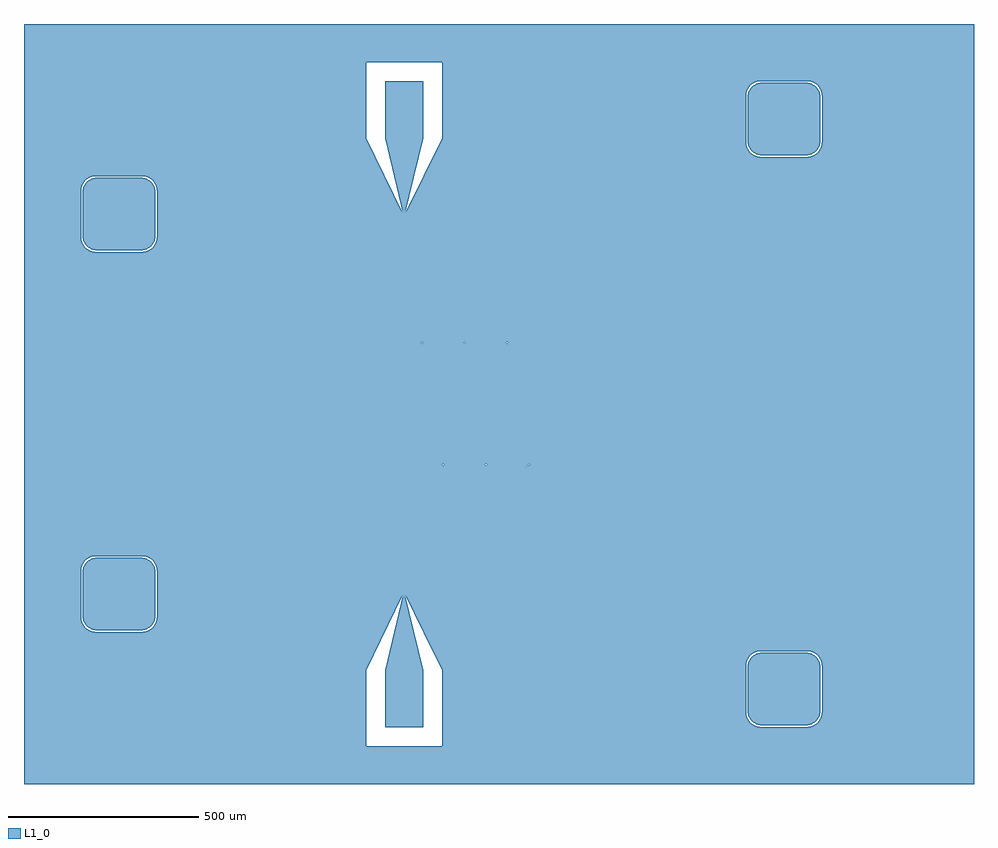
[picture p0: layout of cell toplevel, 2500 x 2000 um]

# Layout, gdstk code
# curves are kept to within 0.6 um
import gdstk
lib = gdstk.Library(unit=1e-6, precision=1e-09)
def P(c, l, *ps):  # polygons
    for p in ps: c.add(gdstk.Polygon(p, *l))
L1_0 = (1, 0)

toplevel = lib.new_cell('toplevel')
P(toplevel, L1_0, [(-1559,-845),(-1566.023,-844.308),(-1572.777,-842.26),(-1581.838,-836.828),(-1588.933,-829),(-1592.26,-822.777),(-1594.308,-816.023),(-1595,-809),(-1594.827,-687.471),(-1592.26,-677.223),(-1586.828,-668.162),(-1581.838,-663.172),(-1572.777,-657.74),(-1566.023,-655.692),(-1559,-655),(-1437.471,-655.173),(-1427.223,-657.74),(-1418.162,-663.172),(-1411.067,-670.999),(-1407.74,-677.223),(-1405.692,-683.977),(-1405,-691),(-1405.173,-812.529),(-1407.74,-822.777),(-1413.172,-831.838),(-1418.162,-836.828),(-1424.03,-840.749),(-1430.55,-843.45),(-1437.471,-844.827)],
  [(-3309,-595),(-3316.023,-594.308),(-3322.777,-592.26),(-3331.838,-586.828),(-3338.933,-579),(-3342.26,-572.777),(-3344.308,-566.023),(-3345,-559),(-3344.827,-437.471),(-3342.26,-427.223),(-3336.828,-418.162),(-3331.838,-413.172),(-3322.777,-407.74),(-3316.023,-405.692),(-3309,-405),(-3187.471,-405.173),(-3177.223,-407.74),(-3168.162,-413.172),(-3161.067,-420.999),(-3157.74,-427.223),(-3155.692,-433.977),(-3155,-441),(-3155.173,-562.529),(-3157.74,-572.777),(-3163.172,-581.838),(-3168.162,-586.828),(-3174.03,-590.749),(-3180.55,-593.45),(-3187.471,-594.827)],
  [(-3309,405),(-3316.023,405.692),(-3322.777,407.74),(-3331.838,413.172),(-3338.933,420.999),(-3342.26,427.223),(-3344.308,433.977),(-3345,441),(-3344.827,562.529),(-3342.26,572.777),(-3336.828,581.838),(-3331.838,586.828),(-3322.777,592.26),(-3316.023,594.308),(-3309,595),(-3187.471,594.827),(-3177.223,592.26),(-3168.162,586.828),(-3163.172,581.838),(-3157.74,572.777),(-3155.692,566.023),(-3155,559),(-3155.173,437.471),(-3157.74,427.223),(-3163.172,418.162),(-3168.162,413.172),(-3174.03,409.251),(-3180.55,406.55),(-3187.471,405.173)],
  [(-1559,655),(-1566.023,655.692),(-1572.777,657.74),(-1581.838,663.172),(-1588.933,670.999),(-1592.26,677.223),(-1594.308,683.977),(-1595,691),(-1594.827,812.529),(-1592.26,822.777),(-1586.828,831.838),(-1581.838,836.828),(-1572.777,842.26),(-1566.023,844.308),(-1559,845),(-1437.471,844.827),(-1427.223,842.26),(-1418.162,836.828),(-1413.172,831.838),(-1407.74,822.777),(-1405.692,816.023),(-1405,809),(-1405.173,687.471),(-1407.74,677.223),(-1413.172,668.162),(-1418.162,663.172),(-1424.03,659.251),(-1430.55,656.55),(-1437.471,655.173)],
  [(-2550,-850),(-2550,-700),(-2501.8,-500),(-2501.8,500),(-2550,700),(-2550,850),(-2450,850),(-2450,700),(-2498.2,500),(-2498.2,-500),(-2450,-700),(-2450,-850)],
  [(-3500,-1000),(-3500,-400),(-3310,-400),(-3321.611,-401.722),(-3328.856,-404.723),(-3335.376,-409.08),(-3340.92,-414.624),(-3345.277,-421.144),(-3348.278,-428.389),(-3349.807,-436.079),(-3350,-560),(-3349.231,-567.804),(-3345.277,-578.856),(-3340.92,-585.376),(-3332.223,-593.259),(-3325.307,-596.955),(-3317.804,-599.231),(-3310,-600),(-3190,-600),(-3182.196,-599.231),(-3174.693,-596.955),(-3167.777,-593.259),(-3159.08,-585.376),(-3154.723,-578.856),(-3151.722,-571.611),(-3150,-560),(-3150,-440),(-3150.769,-432.196),(-3154.723,-421.144),(-3159.08,-414.624),(-3167.777,-406.741),(-3174.693,-403.045),(-3182.196,-400.769),(-3190,-400),(-3500,-400),(-3500,600),(-3310,600),(-3321.611,598.278),(-3328.856,595.277),(-3335.376,590.92),(-3340.92,585.376),(-3345.277,578.856),(-3348.278,571.611),(-3349.807,563.921),(-3350,440),(-3349.231,432.196),(-3345.277,421.144),(-3340.92,414.624),(-3332.223,406.741),(-3325.307,403.045),(-3317.804,400.769),(-3310,400),(-3190,400),(-3182.196,400.769),(-3174.693,403.045),(-3167.777,406.741),(-3159.08,414.624),(-3154.723,421.144),(-3151.722,428.389),(-3150,440),(-3150,560),(-3150.769,567.804),(-3154.723,578.856),(-3159.08,585.376),(-3167.777,593.259),(-3174.693,596.955),(-3182.196,599.231),(-3190,600),(-3500,600),(-3500,900),(-2600,900),(-2600,700),(-2502.8,501.633),(-2502.8,-501.633),(-2600,-700),(-2600,-900),(-2400,-900),(-2400,-700),(-2424.5,-650),(-1560,-650),(-1571.611,-651.722),(-1578.856,-654.723),(-1585.376,-659.08),(-1593.259,-667.777),(-1596.955,-674.693),(-1599.231,-682.196),(-1600,-690),(-1599.807,-813.921),(-1598.278,-821.611),(-1595.277,-828.856),(-1588.284,-838.284),(-1578.856,-845.277),(-1571.611,-848.278),(-1563.921,-849.807),(-1440,-850),(-1432.196,-849.231),(-1424.693,-846.955),(-1417.777,-843.259),(-1409.08,-835.376),(-1404.723,-828.856),(-1401.722,-821.611),(-1400,-810),(-1400,-690),(-1400.769,-682.196),(-1404.723,-671.144),(-1409.08,-664.624),(-1417.777,-656.741),(-1428.389,-651.722),(-1440,-650),(-2424.5,-650),(-2497.2,-501.633),(-2497.2,165.508),(-2230.489,165.508),(-2240.992,163.484),(-2250.17,157.989),(-2256.915,149.686),(-2260.414,139.578),(-2260.914,-137.107),(-2263.247,-145.542),(-2268.323,-152.671),(-2275.532,-157.634),(-2284.801,-159.882),(-2294.242,-158.525),(-2302.502,-153.756),(-2308.398,-146.258),(-2311.086,-137.107),(-2311.215,135.689),(-2312.447,143.389),(-2316.089,151.363),(-2321.83,157.989),(-2330.1,163.12),(-2338.586,165.322),(-2347.348,165.044),(-2355.677,162.308),(-2362.898,157.337),(-2368.426,150.533),(-2371.813,142.447),(-2372.8,134.734),(-2372.914,-137.107),(-2375.247,-145.542),(-2380.902,-153.223),(-2389.007,-158.252),(-2398.4,-159.908),(-2406.993,-158.252),(-2415.098,-153.223),(-2420.753,-145.542),(-2423.086,-137.107),(-2423.2,134.734),(-2424.187,142.447),(-2427.574,150.533),(-2433.102,157.337),(-2440.323,162.308),(-2448.652,165.044),(-2457.414,165.322),(-2465.899,163.12),(-2473.421,158.617),(-2479.37,152.177),(-2483.553,143.389),(-2484.8,134.734),(-2484.8,-202.8),(-2483.8,-202.8),(-2483.74,136.602),(-2481.666,145.787),(-2476.828,153.867),(-2468.9,160.519),(-2460.103,163.88),(-2454.473,164.508),(-2447.897,163.88),(-2442.487,162.198),(-2436.714,158.986),(-2432.432,155.276),(-2428.432,150.019),(-2425.997,144.904),(-2424.44,138.484),(-2424.187,-135.543),(-2422.002,-145.216),(-2415.777,-153.958),(-2410.373,-157.805),(-2404.177,-160.173),(-2396.753,-160.882),(-2390.221,-159.73),(-2383.487,-156.525),(-2378.474,-152.181),(-2374.713,-146.717),(-2372.444,-140.484),(-2371.8,-134.697),(-2371.665,137.544),(-2368.907,147.519),(-2362.904,155.95),(-2354.379,161.819),(-2344.362,164.418),(-2333.152,163.168),(-2323.209,157.841),(-2315.959,149.2),(-2312.44,138.484),(-2312.2,-134.697),(-2311.138,-142.093),(-2308.041,-148.876),(-2303.157,-154.512),(-2296.884,-158.544),(-2288.904,-160.75),(-2281.45,-160.513),(-2274.365,-158.186),(-2268.223,-153.958),(-2263.105,-147.45),(-2260.444,-140.484),(-2259.8,-134.697),(-2259.665,137.544),(-2256.907,147.519),(-2250.904,155.95),(-2242.379,161.819),(-2232.362,164.418),(-2221.152,163.168),(-2211.209,157.841),(-2206.575,153.133),(-2203.512,148.367),(-2200.335,137.544),(-2200.2,-134.697),(-2199.138,-142.093),(-2195.58,-149.568),(-2189.867,-155.56),(-2183.35,-159.186),(-2175.247,-160.882),(-2167.018,-159.964),(-2159.487,-156.525),(-2153.406,-150.907),(-2149.38,-143.672),(-2147.8,-134.697),(-2147.8,1.8),(-2144.2,1.8),(-2144.26,-136.602),(-2146.7,-146.659),(-2152.432,-155.276),(-2160.767,-161.412),(-2170.697,-164.328),(-2181.026,-163.672),(-2190.507,-159.522),(-2197.997,-152.38),(-2202.593,-143.107),(-2203.8,-134.726),(-2203.919,137.202),(-2206.713,146.717),(-2212.843,154.512),(-2222.221,159.73),(-2232.076,160.829),(-2240.884,158.544),(-2248.378,153.384),(-2253.656,145.972),(-2256.081,137.202),(-2256.2,-134.726),(-2257.155,-142.196),(-2260.432,-150.019),(-2265.78,-156.602),(-2272.767,-161.412),(-2280.825,-164.059),(-2289.303,-164.328),(-2297.513,-162.198),(-2304.791,-157.841),(-2310.546,-151.61),(-2314.312,-144.01),(-2315.785,-135.657),(-2315.919,137.202),(-2318.713,146.717),(-2324.843,154.512),(-2334.221,159.73),(-2344.076,160.829),(-2352.884,158.544),(-2360.378,153.384),(-2365.656,145.972),(-2368.081,137.202),(-2368.2,-134.726),(-2368.932,-141.277),(-2371.512,-148.367),(-2376.432,-155.276),(-2382.289,-160.033),(-2389.152,-163.168),(-2396.582,-164.478),(-2405.026,-163.672),(-2412.074,-160.979),(-2418.22,-156.602),(-2422.546,-151.61),(-2425.3,-146.659),(-2427.785,-135.657),(-2428.011,138.028),(-2431.521,148.17),(-2438.803,156.053),(-2448.634,160.356),(-2459.366,160.356),(-2467.1,157.401),(-2473.526,152.181),(-2478.002,145.216),(-2480.147,136.373),(-2480.2,-202.8),(-2479.2,-202.8),(-2479.149,136.31),(-2477.086,144.815),(-2472.78,151.514),(-2466.6,156.535),(-2459.161,159.377),(-2448.839,159.377),(-2439.383,155.238),(-2432.379,147.656),(-2429.003,137.901),(-2428.785,-135.689),(-2428.044,-141.497),(-2425.81,-147.949),(-2418.898,-157.337),(-2412.546,-161.86),(-2405.262,-164.644),(-2396.534,-165.477),(-2388.855,-164.123),(-2381.761,-160.883),(-2375.709,-155.966),(-2371.085,-149.686),(-2367.956,-141.497),(-2367.2,-134.734),(-2367.086,137.107),(-2364.753,145.542),(-2359.677,152.671),(-2352.468,157.634),(-2343.997,159.832),(-2334.518,158.775),(-2326.11,154.27),(-2319.979,146.963),(-2316.914,137.107),(-2316.785,-135.689),(-2315.262,-144.322),(-2311.37,-152.177),(-2305.421,-158.617),(-2297.899,-163.12),(-2289.414,-165.322),(-2280.652,-165.044),(-2272.323,-162.308),(-2265.102,-157.337),(-2259.574,-150.533),(-2256.187,-142.447),(-2255.2,-134.734),(-2255.086,137.107),(-2252.753,145.542),(-2247.677,152.671),(-2240.468,157.634),(-2231.997,159.832),(-2222.518,158.775),(-2214.11,154.27),(-2207.979,146.963),(-2204.914,137.107),(-2204.8,-134.734),(-2203.553,-143.389),(-2198.803,-152.973),(-2191.061,-160.355),(-2181.262,-164.644),(-2170.586,-165.322),(-2160.323,-162.308),(-2151.709,-155.966),(-2145.784,-147.06),(-2143.262,-136.665),(-2143.2,2.8),(-2148.8,2.8),(-2148.8,-134.689),(-2150.32,-143.33),(-2154.192,-150.289),(-2160.041,-155.692),(-2168.059,-159.201),(-2175.997,-159.832),(-2183.736,-157.954),(-2190.502,-153.756),(-2195.621,-147.656),(-2198.58,-140.263),(-2199.2,-134.689),(-2199.215,135.689),(-2199.956,141.497),(-2202.19,147.949),(-2205.789,153.751),(-2209.83,157.989),(-2219.008,163.484),(-2229.511,165.508),(-2497.2,165.508),(-2497.2,501.633),(-2400,700),(-2400,850),(-1560,850),(-1567.804,849.231),(-1575.307,846.955),(-1582.223,843.259),(-1588.284,838.284),(-1593.259,832.223),(-1596.955,825.307),(-1599.231,817.804),(-1600,810),(-1600,690),(-1599.231,682.196),(-1596.955,674.693),(-1593.259,667.777),(-1585.376,659.08),(-1578.856,654.723),(-1571.611,651.722),(-1560,650),(-1436.079,650.193),(-1428.389,651.722),(-1421.144,654.723),(-1414.624,659.08),(-1409.08,664.624),(-1403.045,674.693),(-1400.193,686.079),(-1400,810),(-1401.722,821.611),(-1404.723,828.856),(-1409.08,835.376),(-1414.624,840.92),(-1421.144,845.277),(-1428.389,848.278),(-1440,850),(-2400,850),(-2400,900),(-3500,900),(-3500,1000),(-1000,1000),(-1000,-1000)])

lib.write_gds('toplevel.gds')
